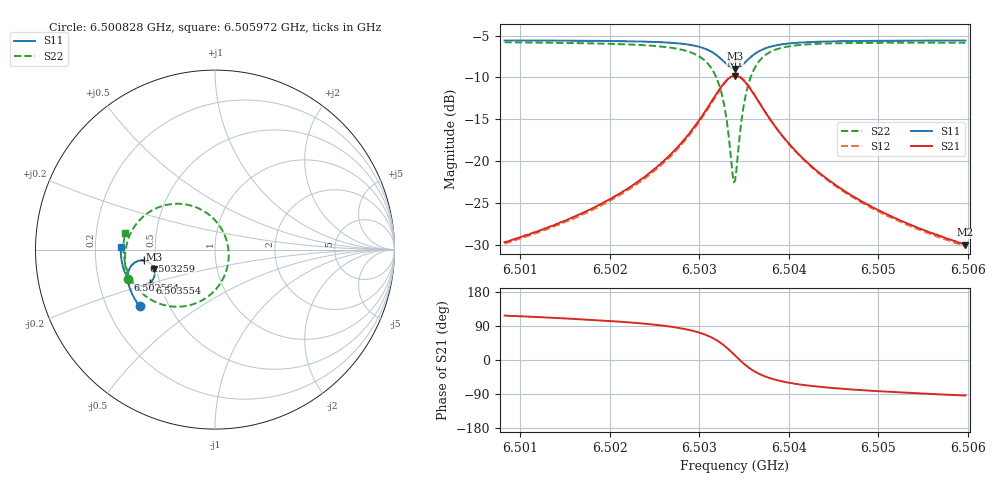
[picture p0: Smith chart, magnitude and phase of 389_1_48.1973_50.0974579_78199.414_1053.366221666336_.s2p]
#  HZ  S  RI  R  50.00
! Rohde & Schwarz Vector Network Analyzer
! Rohde-Schwarz,ZNB20-2Port,1311601062101988,3.16
! Created: UTC 3/20/2024, 11:53:32 AM
! freq[Hz]  re:S11  im:S11  re:S21  im:S21  re:S12  im:S12  re:S22  im:S22
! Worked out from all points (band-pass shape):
!   401 points, 6.500828 GHz to 6.505972 GHz, reference 50 ohm
!   highest |S21| = -9.79 dB at 6.5034 GHz (marker M1); lowest = -30.0 dB at 6.505972 GHz (marker M2)
!   |S21| within 3 dB of the highest: 6.503143 GHz to 6.503658 GHz (514.5 kHz wide, 0.00791 % of centre)
!   lowest |S11| = -9.0 dB at 6.5034 GHz (marker M3), VSWR 2.11, Z = 24.2 - j6.06 ohm
!   |S11| at or under -10 dB: nowhere
!   |S22| runs from -22.5 to -5.8 dB; largest |S21 - S12| = 0.011
!   S11 on the Smith chart (normalised r, x): 6.500828 GHz: 0.34, -0.30; 6.502564 GHz: 0.33, -0.15; 6.503259 GHz: 0.43, -0.06; 6.503554 GHz: 0.44, -0.20; 6.505972 GHz: 0.31, +0.01
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6.5008284e9  -0.4206 -0.3164  -0.015 0.0291  -0.0134 0.0292  -0.4861 -0.1654
6.5016899e9  -0.4585 -0.2539  -0.0145 0.0465  -0.0122 0.0462  -0.5011 -0.0757
6.5021529e9  -0.4751 -0.2137  -0.0119 0.0649  -0.00905 0.0639  -0.4996 -0.0118
6.5025515e9  -0.4853 -0.1706  -0.00324 0.0944  0.000432 0.0922  -0.4811 0.0653
6.5025644e9  -0.4855 -0.169  -0.00261 0.0958  0.000959 0.0936  -0.4801 0.0684
6.5028087e9  -0.4849 -0.1339  0.0157 0.1288  0.0192 0.125  -0.442 0.1378
6.5029887e9  -0.4737 -0.1008  0.0498 0.1647  0.0531 0.1594  -0.3745 0.2037
6.5031559e9  -0.4392 -0.0677  0.1266 0.198  0.1278 0.1916  -0.2336 0.2545
6.5032587e9  -0.397 -0.0606  0.2112 0.1894  0.2114 0.1842  -0.0865 0.2275
6.5033102e9  -0.3716 -0.0692  0.2592 0.1618  0.2599 0.1573  -0.00672 0.1709
6.5033745e9  -0.3452 -0.0951  0.3066 0.0992  0.3089 0.0944  0.0648 0.0506
6.5034002e9  -0.339 -0.1094  0.3168 0.0674  0.3197 0.0619  0.0757 -0.00847
6.503413e9  -0.337 -0.1171  0.3194 0.051  0.3226 0.0449  0.0766 -0.0387
6.5034902e9  -0.3428 -0.1615  0.303 -0.0425  0.305 -0.0521  0.0202 -0.2023
6.5035545e9  -0.3635 -0.1869  0.2611 -0.096  0.2599 -0.107  -0.0744 -0.2841
6.5036574e9  -0.4025 -0.202  0.1877 -0.132  0.1824 -0.1413  -0.2219 -0.3183
6.5038245e9  -0.4482 -0.1922  0.1071 -0.1294  0.1002 -0.1343  -0.367 -0.2727
6.5040046e9  -0.4753 -0.1709  0.0632 -0.1098  0.0571 -0.112  -0.4384 -0.2088
6.5042617e9  -0.4959 -0.141  0.0336 -0.0861  0.029 -0.0864  -0.4813 -0.1376
6.5046732e9  -0.5122 -0.0987  0.0141 -0.0621  0.0108 -0.0618  -0.5044 -0.0591
6.5051233e9  -0.5209 -0.0576  0.00491 -0.0471  0.00278 -0.0463  -0.5097 0.00253
6.505972e9  -0.5258 0.0138  -0.0021 -0.0315  -0.0033 -0.0308  -0.5017 0.0909
